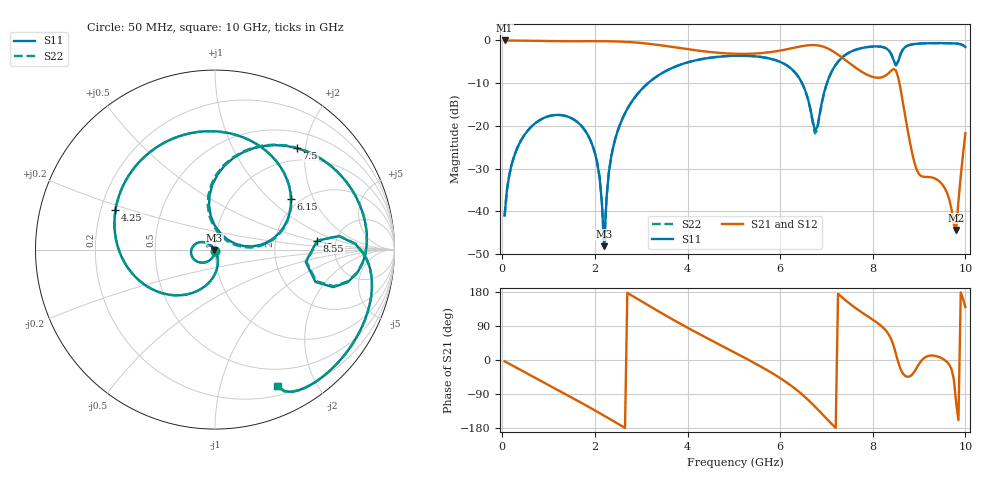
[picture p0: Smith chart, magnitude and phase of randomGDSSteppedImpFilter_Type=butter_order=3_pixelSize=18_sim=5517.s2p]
! freq	dB(S11)	phase(S11)	dB(S12)	phase(S12)
!  dB(S21)	phase(S21)	dB(S22)	phase(S22)
!S-par simulation data
#  GHz  S  DB  R 50
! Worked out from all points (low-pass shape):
!   200 points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, 50 MHz to 10 GHz, reference 50 ohm
!   highest |S21| = -0.01 dB at 50 MHz (marker M1); lowest = -44.3 dB at 9.8 GHz (marker M2)
!   |S21| within 3 dB of the highest: start of sweep to 4.814 GHz; 5.536 GHz to 7.208 GHz (1.672 GHz wide, 26.2 % of centre)
!   lowest |S11| = -48.1 dB at 2.2 GHz (marker M3), VSWR 1.01, Z = 49.7 - j0.213 ohm
!   |S11| at or under -10 dB: start of sweep to 3.146 GHz; 6.473 GHz to 7.01 GHz (536.8 MHz wide, 7.96 % of centre)
!   |S22| runs from -47.7 to -0.6 dB; largest |S21 - S12| = 0
!   S11 on the Smith chart (normalised r, x): 50 MHz: 1.00, -0.02; 4.25 GHz: 0.26, +0.18; 6.15 GHz: 1.80, +1.37; 7.5 GHz: 0.77, +1.84; 8.55 GHz: 3.58, +0.53; 10 GHz: 0.30, -1.51
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0.05  -40.95 -93.1  -0.01 -3.4  -0.01 -3.4  -40.95 -93.1
0.2  -29.12 -103.1  -0.03 -13.4  -0.03 -13.4  -29.12 -103.1
0.6  -20.47 -130.3  -0.09 -39.8  -0.09 -39.8  -20.47 -130.3
1.75  -20.52 154.0  -0.18 -115.9  -0.18 -115.9  -20.52 154.1
2.05  -28.61 135.2  -0.17 -136.5  -0.17 -136.5  -28.61 135.6
2.2  -48.11 -147.0  -0.18 -147.0  -0.18 -147.0  -47.73 -146.6
2.3  -30.94 -69.0  -0.20 -154.1  -0.20 -154.1  -30.93 -69.7
2.5  -20.89 -80.7  -0.25 -168.4  -0.25 -168.4  -20.89 -80.9
3.4  -7.96 -144.5  -1.10 126.5  -1.10 126.5  -7.96 -144.6
4.25  -4.49 158.3  -2.40 68.8  -2.40 68.8  -4.49 158.2
5.05  -3.58 107.8  -3.12 17.6  -3.12 17.6  -3.58 107.7
6.15  -5.88 33.6  -2.06 -60.1  -2.06 -60.1  -5.89 33.1
6.7  -18.60 16.1  -1.08 -116.5  -1.08 -116.5  -18.96 13.6
6.8  -20.34 71.8  -1.14 -128.9  -1.14 -128.9  -20.98 73.7
7.05  -8.78 92.2  -1.98 -161.0  -1.98 -161.0  -8.83 93.4
7.5  -2.77 51.1  -5.35 148.8  -5.35 148.8  -2.78 51.6
8.35  -2.38 -13.9  -7.58 66.3  -7.58 66.3  -2.37 -13.4
8.55  -4.86 5.0  -8.67 -5.9  -8.67 -5.9  -4.81 5.1
8.95  -0.78 -19.8  -30.28 -20.6  -30.28 -20.6  -0.77 -19.6
9.55  -0.64 -46.9  -34.45 0.1  -34.45 0.1  -0.63 -46.7
9.8  -0.73 -57.0  -44.33 -112.3  -44.33 -112.3  -0.73 -56.9
10  -1.55 -65.6  -21.70 139.2  -21.70 139.2  -1.53 -65.4
